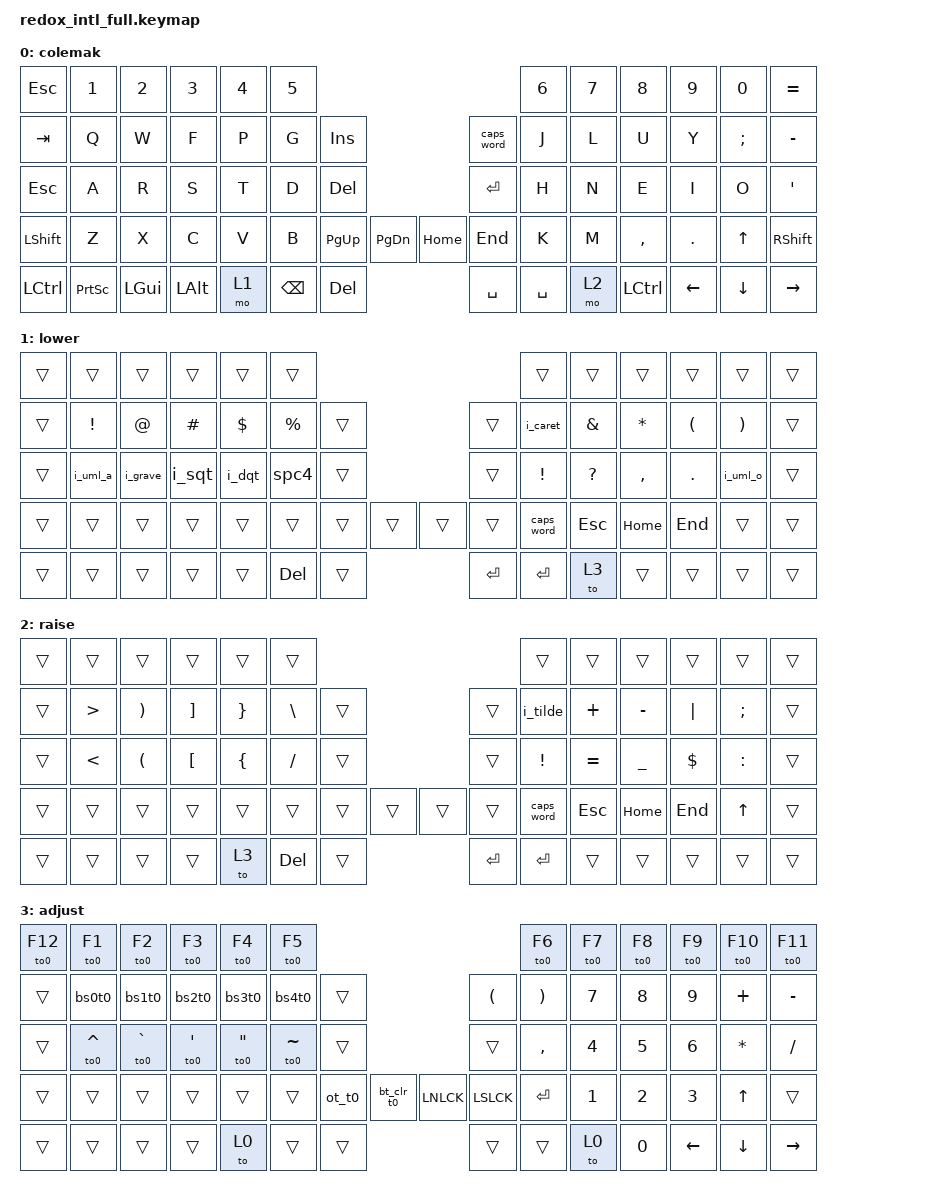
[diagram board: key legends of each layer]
/*
 * Copyright (c) 2021 The ZMK Contributors
 *
 * SPDX-License-Identifier: MIT
 */

#include <behaviors.dtsi>
#include <dt-bindings/zmk/keys.h>
#include <dt-bindings/zmk/bt.h>
#include <dt-bindings/zmk/ext_power.h>
#include <dt-bindings/zmk/outputs.h>

/ {
    behaviors {
        i_uml_a: i_uml_a {
            compatible = "zmk,behavior-macro";
            #binding-cells = <0>;
            bindings
                = <&macro_tap &kp DQT>
                , <&macro_tap &kp A>
                ;
        };
        i_uml_o: i_uml_o {
            compatible = "zmk,behavior-macro";
            #binding-cells = <0>;
            bindings
                = <&macro_tap &kp DQT>
                , <&macro_tap &kp O>
                ;
        };
        i_dqt: i_dqt {
            compatible = "zmk,behavior-macro";
            #binding-cells = <0>;
            bindings
                = <&macro_tap &kp DQT>
                , <&macro_tap &kp SPACE>
                ;
        };
        i_sqt: i_sqt {
            compatible = "zmk,behavior-macro";
            #binding-cells = <0>;
            bindings
                = <&macro_tap &kp SQT>
                , <&macro_tap &kp SPACE>
                ;
        };
        i_grave: i_grave {
            compatible = "zmk,behavior-macro";
            #binding-cells = <0>;
            bindings
                = <&macro_tap &kp GRAVE>
                , <&macro_tap &kp SPACE>
                ;
        };
        i_tilde: i_tilde {
            compatible = "zmk,behavior-macro";
            #binding-cells = <0>;
            bindings
                = <&macro_tap &kp TILDE>
                , <&macro_tap &kp SPACE>
                ;
        };
        i_caret: i_caret {
            compatible = "zmk,behavior-macro";
            #binding-cells = <0>;
            bindings
                = <&macro_tap &kp CARET>
                , <&macro_tap &kp SPACE>
                ;
        };

        spc4: spc4 {
            compatible = "zmk,behavior-macro";
            #binding-cells = <0>;
            bindings
                = <&macro_tap &kp SPACE &kp SPACE &kp SPACE &kp SPACE>
                ;
        };
        bs0t0: bs0t0 {
            compatible = "zmk,behavior-macro";
            #binding-cells = <0>;
            bindings
                = <&macro_tap &bt BT_SEL 0>
                , <&macro_tap &to 0>
                ;
        };
        bs1t0: bs1t0 {
            compatible = "zmk,behavior-macro";
            #binding-cells = <0>;
            bindings
                = <&macro_tap &bt BT_SEL 1>
                , <&macro_tap &to 0>
                ;
        };
        bs2t0: bs2t0 {
            compatible = "zmk,behavior-macro";
            #binding-cells = <0>;
            bindings
                = <&macro_tap &bt BT_SEL 2>
                , <&macro_tap &to 0>
                ;
        };
        bs3t0: bs3t0 {
            compatible = "zmk,behavior-macro";
            #binding-cells = <0>;
            bindings
                = <&macro_tap &bt BT_SEL 3>
                , <&macro_tap &to 0>
                ;
        };
        bs4t0: bs4t0 {
            compatible = "zmk,behavior-macro";
            #binding-cells = <0>;
            bindings
                = <&macro_tap &bt BT_SEL 4>
                , <&macro_tap &to 0>
                ;
        };
        ot_t0: ot_t0 {
            compatible = "zmk,behavior-macro";
            #binding-cells = <0>;
            bindings
                = <&macro_tap &out OUT_TOG>
                , <&macro_tap &to 0>
                ;
        };
        bt_clr_t0: bt_clr_t0 {
            compatible = "zmk,behavior-macro";
            #binding-cells = <0>;
            bindings
                = <&macro_tap &bt BT_CLR>
                , <&macro_tap &to 0>
                ;
        };
        to0: to0 {
            compatible = "zmk,behavior-macro-one-param";
            #binding-cells = <1>;
            bindings
                = <&macro_param_1to1>
                , <&macro_tap &kp MACRO_PLACEHOLDER>
                , <&macro_tap &to 0>
                ;
        };

    };
};

&caps_word {
    continue-list = <
                    UNDERSCORE
                    MINUS
                    DELETE
                    BACKSPACE
                    >;
};

/ {
    keymap {
        compatible =  "zmk,keymap" ;
/*
        qwerty {
// -------------------------------------------------------------------------------------------------------------------------
// | ESC   |  1    |  2  |  3  |  4  |  5  |                   ---                |  6  |  7  |  8   |  9   |  0   |   =   |
// | TAB   |  Q    |  W  |  E  |  R  |  T  |   [   |           ---        |  ]    |  Y  |  U  |  I   |  O   |  P   |   -   |
// | ESC   |  A    |  S  |  D  |  f  |  G  | DEL   |           ---        | RET   |  H  |  J  |  K   |  L   |  :   | SHIFT |
// | SHIFT |  Z    |  X  |  C  |  V  |  B  | PG_UP | PG_DOWN | --- | HOME | END   |  N  |  M  |  ,   |  .   |  UP  |   '   |
// | CRTL  | PSCRN | GUI | ALT |   LOWER   | RET   | DEL     | --- | BKSP | SPACE |   RAISE   | CTRL | LEFT | DOWN | RIGHT |
            bindings = <
   &kp ESC    &kp N1     &kp N2    &kp N3  &kp N4   &kp N5                                           &kp N6  &kp N7  &kp N8     &kp N9    &kp N0    &kp EQUAL
   &kp TAB    &kp Q      &kp W     &kp E   &kp R    &kp T  &kp LBKT                        &kp RBKT  &kp Y   &kp U   &kp I      &kp O     &kp P     &kp MINUS
   &kp ESC    &kp A      &kp S     &kp D   &kp F    &kp G  &kp DEL                         &kp RET   &kp H   &kp J   &kp K      &kp L     &kp SEMI  &kp SQT
   &kp LSHFT  &kp Z      &kp X     &kp C   &kp V    &kp B  &kp PG_UP  &kp PG_DN  &kp HOME  &kp END   &kp N   &kp M   &kp COMMA  &kp DOT   &kp UP    &kp RSHFT
   &kp LCTRL  &kp PSCRN  &kp LGUI  &kp LALT     &mo 1      &kp RET    &kp DEL    &kp SPACE &kp SPACE       &mo 2     &kp LCTRL  &kp LEFT  &kp DOWN  &kp RIGHT
            >;

        };
*/
        colemak {
// ---------------------------------------------------------------------------------------------------------------------------
// | ESC   |  1    |  2  |  3  |  4  |  5  |                   ---                 |  6  |  7  |  8   |  9   |  0    |   =   |
// | TAB   |  Q    |  W  |  F  |  P  |  G  | INS   |           ---         | C_WRD |  J  |  L  |  U   |  Y   |  ;    |   -   |
// | ESC   |  A    |  R  |  S  |  T  |  D  | DEL   |           ---         | RET   |  H  |  N  |  E   |  I   |  O    |   '   |
// | SHIFT |  Z    |  X  |  C  |  V  |  B  | PG_UP | PG_DOWN | --- | HOME  | END   |  K  |  M  |  ,   |  .   |  UP   | SHIFT |
// | CRTL  | PSCRN | GUI | ALT |   LOWER   | BKSP  | DEL     | --- | SPACE | SPACE |   RAISE   | CTRL | LEFT | DOWN  | RIGHT |
            bindings = <
   &kp ESC    &kp N1     &kp N2    &kp N3  &kp N4   &kp N5                                              &kp N6  &kp N7  &kp N8     &kp N9    &kp N0    &kp EQUAL
   &kp TAB    &kp Q      &kp W     &kp F   &kp P    &kp G  &kp INS                          &caps_word  &kp J   &kp L   &kp U      &kp Y     &kp SEMI  &kp MINUS
   &kp ESC    &kp A      &kp R     &kp S   &kp T    &kp D  &kp DEL                          &kp RET     &kp H   &kp N   &kp E      &kp I     &kp O     &kp SQT
   &kp LSHFT  &kp Z      &kp X     &kp C   &kp V    &kp B  &kp PG_UP  &kp PG_DN  &kp HOME   &kp END     &kp K   &kp M   &kp COMMA  &kp DOT   &kp UP    &kp RSHFT
   &kp LCTRL  &kp PSCRN  &kp LGUI  &kp LALT     &mo 1      &kp BKSP   &kp DEL    &kp SPACE  &kp SPACE         &mo 2     &kp LCTRL  &kp LEFT  &kp DOWN  &kp RIGHT
            >;

        };

        lower {
// --------------------------------------------------------------------------------------------------------------------------
// | ESC   |   1   |  2  |  3  |  4  |  5  |                   ---                 |  6    |  7  |  8   |  9   |  0   |   +   |
// | TAB   |   !   |  @  |  #  |  $  |  %  | INS   |           ---         | C_WRD |  ^    |  &  |  *   |  (   |  )   |   -   |
// | ESC   |   Ä   |  `  |  '  |  "  | 4sp | DEL   |           ---         | RET   |  !    |  ?  |  ,   |  .   |  Ö   |   '   |
// | SHIFT |   Z   |  X  |  C  |  V  |  B  | PG_UP | PG_DOWN | --- | HOME  | END   | C_WRD | ESC | HOME | END  |  UP  | SHIFT |
// | CRTL  | PSCRN | GUI | ALT |   LOWER   | BKSP  | DEL     | --- | SPACE | SPACE |   RAISE   | CTRL | LEFT | DOWN  | RIGHT |
            bindings = <
   &trans   &trans    &trans     &trans    &trans    &trans                                        &trans      &trans     &trans     &trans    &trans     &trans
   &trans   &kp EXCL  &kp AT     &kp HASH  &kp DLLR  &kp PRCNT  &trans                     &trans  &i_caret    &kp AMPS   &kp ASTRK  &kp LPAR  &kp RPAR   &trans
   &trans   &i_uml_a  &i_grave   &i_sqt    &i_dqt    &spc4      &trans                     &trans  &kp EXCL    &kp QMARK  &kp COMMA  &kp DOT   &i_uml_o   &trans
   &trans   &trans    &trans     &trans    &trans    &trans     &trans   &trans   &trans   &trans  &caps_word  &kp ESC    &kp HOME   &kp END   &trans     &trans
   &trans   &trans    &trans     &trans         &trans          &kp DEL  &trans  &kp RET  &kp RET          &to 3        &trans     &trans    &trans     &trans
            >;
        };

        raise {
// --------------------------------------------------------------------------------------------------------------------------
// | ESC   |  1    |  2  |  3  |  4  |  5  |                   ---                 |  6    |  7  |  8   |  9   |  0   |   +   |
// | TAB   |  >    |  )  |  ]  |  }  |  \  | INS   |           ---         | C_WRD |  ~    |  +  |  -   |  |   |  ;   |   '   |
// | ESC   |  <    |  (  |  [  |  {  |  /  | DEL   |           ---         | RET   |  !    |  =  |  _   |  $   |  :   |   '   |
// | SHIFT |  Z    |  X  |  C  |  V  |  B  | PG_UP | PG_DOWN | --- | HOME  | END   | C_WRD | ESC | HOME | END  |  UP  | SHIFT |
// | CRTL  | PSCRN | GUI | ALT |   TOADJ   | BKSP  | DEL     | --- | SPACE | SPACE |   RAISE   | CTRL | LEFT | DOWN | RIGHT |
            bindings = <
   &trans  &trans  &trans    &trans    &trans    &trans                                       &trans      &trans     &trans     &trans    &trans     &trans
   &trans  &kp GT  &kp RPAR  &kp RBKT  &kp RBRC  &kp BSLH  &trans                     &trans  &i_tilde    &kp PLUS   &kp MINUS  &kp PIPE  &kp SEMI   &trans
   &trans  &kp LT  &kp LPAR  &kp LBKT  &kp LBRC  &kp FSLH  &trans                     &trans  &kp EXCL    &kp EQUAL  &kp UNDER  &kp DLLR  &kp COLON  &trans
   &trans  &trans  &trans    &trans    &trans    &trans    &trans   &trans   &trans   &trans  &caps_word  &kp ESC    &kp HOME   &kp END   &kp UP     &trans
   &trans  &trans  &trans    &trans          &to 3         &kp DEL  &trans  &kp RET  &kp RET        &trans         &trans     &trans    &trans     &trans
            >;
       };

        adjust {
// ------------------------------------------------------------------------------------------------------------------------------
// | F12    | F1    | F2  | F3   | F4  | F5  |                     ---                 |  F6  |  F7 |  F8 |  F9  |  F10 |  F11  |
// | TAB    | BT1   | BT2 | BT3  | BT4 | BT5 | INS     |           ---         |  (    |  )   |  7  |  8  |  9   |  +   |   -   |
// | ESC    | ^     | `   | '    | "   | ~   | DEL     |           ---         | RET   |  ,   |  4  |  5  |  6   |  *   |   /   |
// | SHIFT  | Z     | X   | C    | V   | B   | OUT TGL | BT CLR  | --- | N_LCK | S_LCK |  RET |  1  |  2  |  3   |  UP  | SHIFT |
// | CRTL   | PSCRN | GUI | ALT  |   TODEF   | BKSP    | DEL     | --- | SPACE | SPACE |    TODEF   |  0  | LEFT | DOWN | RIGHT |
            bindings = <
   &to0 F12  &to0 F1     &to0 F2     &to0 F3   &to0 F4   &to0 F5                                               &to0 F6    &to0 F7  &to0 F8  &to0 F9   &to0 F10      &to0 F11
   &trans    &bs0t0      &bs1t0      &bs2t0    &bs3t0    &bs4t0      &trans                         &kp LPAR   &kp RPAR   &kp N7   &kp N8   &kp N9    &kp PLUS      &kp MINUS
   &trans    &to0 CARET  &to0 GRAVE  &to0 SQT  &to0 DQT  &to0 TILDE  &trans                         &trans     &kp COMMA  &kp N4   &kp N5   &kp N6    &kp ASTERISK  &kp FSLH
   &trans    &trans      &trans      &trans    &trans    &trans      &ot_t0  &bt_clr_t0  &kp LNLCK  &kp LSLCK  &kp RET    &kp N1   &kp N2   &kp N3    &kp UP        &trans
   &trans    &trans      &trans      &trans         &to 0            &trans  &trans      &trans     &trans         &to 0           &kp N0   &kp LEFT  &kp DOWN      &kp RIGHT
            >;
        };
    };
};
